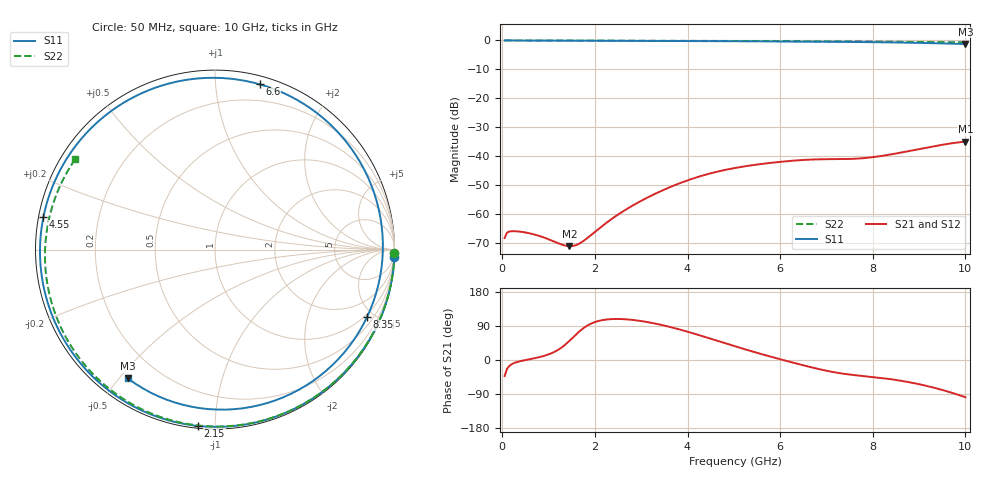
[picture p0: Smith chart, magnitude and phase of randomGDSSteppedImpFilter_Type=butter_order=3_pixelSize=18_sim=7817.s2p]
! freq	dB(S11)	phase(S11)	dB(S12)	phase(S12)
!  dB(S21)	phase(S21)	dB(S22)	phase(S22)
!S-par simulation data
#  GHz  S  DB  R 50
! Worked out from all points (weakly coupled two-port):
!   200 points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, 50 MHz to 10 GHz, reference 50 ohm
!   highest |S21| = -35.01 dB at 10 GHz (marker M1); lowest = -71.2 dB at 1.45 GHz (marker M2)
!   lowest |S11| = -1.2 dB at 10 GHz (marker M3), VSWR 13.97, Z = 4.58 - j26.4 ohm
!   |S11| at or under -10 dB: nowhere
!   |S22| runs from -0.7 to 0.0 dB; largest |S21 - S12| = 0
!   S11 on the Smith chart (normalised r, x): 50 MHz: 0, -49; 2.15 GHz: 0.01, -0.91; 4.55 GHz: 0.01, +0.09; 6.6 GHz: 0.06, +1.30; 8.35 GHz: 0.85, -4.55; 10 GHz: 0.09, -0.53
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0.05  -0.00 -2.3  -68.39 -42.4  -68.39 -42.4  -0.00 -1.1
0.15  -0.00 -7.0  -66.15 -15.9  -66.15 -15.9  -0.00 -3.4
0.4  -0.01 -18.7  -66.21 -2.7  -66.21 -2.7  -0.01 -9.0
1.45  -0.08 -65.9  -71.21 50.4  -71.21 50.4  -0.04 -32.3
1.75  -0.10 -78.8  -69.43 83.8  -69.43 83.8  -0.05 -38.8
2.15  -0.11 -95.5  -64.32 105.0  -64.32 105.0  -0.06 -47.4
2.75  -0.14 -119.7  -57.75 106.5  -57.75 106.5  -0.08 -60.1
3.4  -0.17 -145.2  -52.33 93.6  -52.33 93.6  -0.10 -73.5
4  -0.20 -168.7  -48.44 74.7  -48.44 74.7  -0.12 -85.6
4.55  -0.24 169.3  -45.78 54.2  -45.78 54.2  -0.14 -96.5
5.05  -0.27 148.5  -44.07 35.2  -44.07 35.2  -0.16 -106.2
5.9  -0.34 110.0  -42.19 5.3  -42.19 5.3  -0.21 -122.7
6.6  -0.41 74.9  -41.28 -17.1  -41.28 -17.1  -0.26 -136.3
6.7  -0.42 69.6  -41.21 -20.1  -41.21 -20.1  -0.27 -138.3
7.1  -0.46 47.8  -41.09 -30.8  -41.09 -30.8  -0.31 -146.2
7.6  -0.53 19.6  -40.96 -39.8  -40.96 -39.8  -0.35 -156.4
7.95  -0.58 -0.7  -40.50 -44.2  -40.50 -44.2  -0.39 -163.7
8.35  -0.66 -24.0  -39.56 -50.0  -39.56 -50.0  -0.43 -172.3
8.8  -0.78 -50.4  -38.23 -58.9  -38.23 -58.9  -0.49 177.5
9.2  -0.90 -74.1  -36.99 -69.4  -36.99 -69.4  -0.54 168.0
9.6  -1.06 -98.5  -35.85 -82.5  -35.85 -82.5  -0.60 157.9
10  -1.25 -124.0  -35.01 -98.2  -35.01 -98.2  -0.65 147.1
